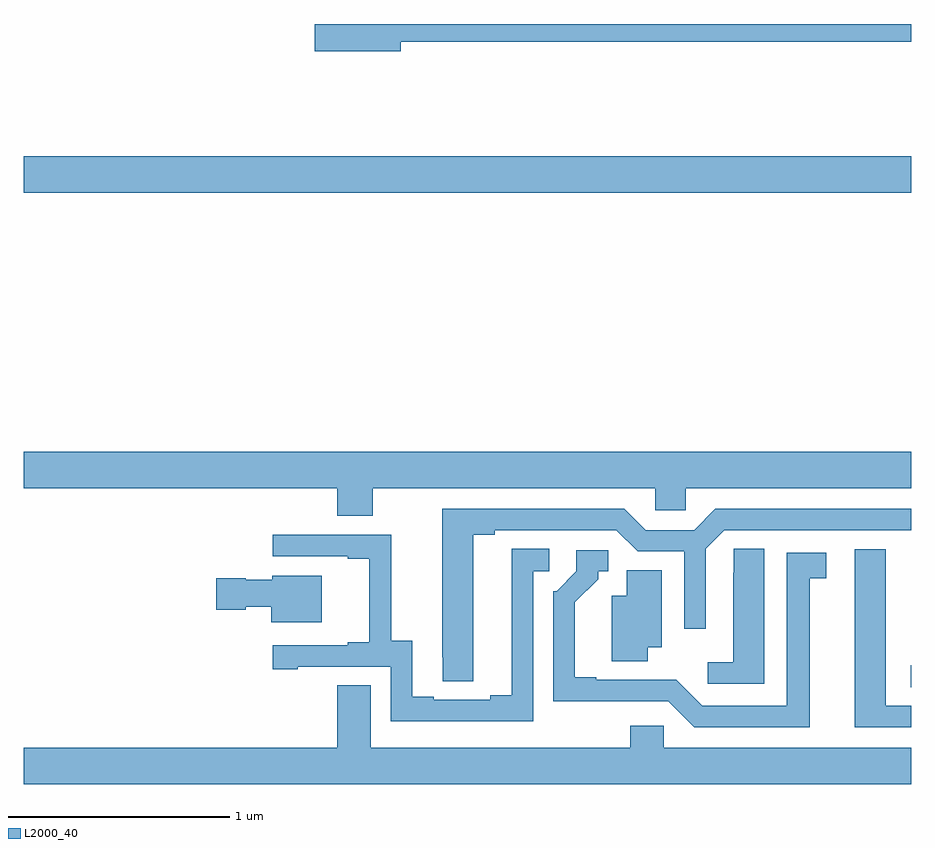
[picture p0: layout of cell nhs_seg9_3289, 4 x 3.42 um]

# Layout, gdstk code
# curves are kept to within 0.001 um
import gdstk
lib = gdstk.Library(unit=1e-6, precision=1e-09)
def R(c, l, rs):  # rectangles x0, y0, x1, y1
    for r in rs: c.add(gdstk.rectangle(r[:2], r[2:], *l))
def P(c, l, *ps):  # polygons
    for p in ps: c.add(gdstk.Polygon(p, *l))
L2000_40 = (2000, 40)

nhs_seg9_3289 = lib.new_cell('nhs_seg9_3289')
R(nhs_seg9_3289, L2000_40, [(302.996,1207.513,303,1207.611), (299,1209.74,303,1209.904)])
P(nhs_seg9_3289, L2000_40, [(300.7,1210.42),(303,1210.42),(303,1210.5),(300.312,1210.5),(300.312,1210.378),(300.7,1210.378)],
  [(300.573,1208.408),(301.845,1208.408),(301.845,1208.31),(301.983,1208.31),(301.983,1208.408),(303,1208.408),(303,1208.572),(299,1208.572),(299,1208.408),(300.413,1208.408),(300.413,1208.284),(300.573,1208.284)],
  [(301.027,1208.2),(301.123,1208.2),(301.123,1208.22),(301.671,1208.22),(301.767,1208.124),(301.977,1208.124),(301.977,1207.776),(302.073,1207.776),(302.073,1208.136),(302.157,1208.22),(303,1208.22),(303,1208.316),(302.117,1208.316),(302.021,1208.22),(301.803,1208.22),(301.707,1208.316),(300.887,1208.316),(300.888,1207.54),(301.027,1207.54)],
  [(301.296,1208.034),(301.369,1208.034),(301.369,1208.135),(301.199,1208.135),(301.199,1207.475),(301.103,1207.475),(301.103,1207.455),(300.847,1207.455),(300.847,1207.47),(300.751,1207.47),(300.751,1207.721),(300.657,1207.721),(300.657,1208.199),(300.123,1208.199),(300.123,1208.103),(300.461,1208.103),(300.461,1208.091),(300.557,1208.091),(300.557,1207.714),(300.461,1207.714),(300.461,1207.701),(300.123,1207.701),(300.123,1207.593),(300.235,1207.593),(300.235,1207.605),(300.654,1207.605),(300.654,1207.359),(301.296,1207.359)],
  [(302.338,1208.135),(302.199,1208.135),(302.199,1208.027),(302.198,1208.027),(302.198,1207.624),(302.082,1207.624),(302.082,1207.527),(302.338,1207.527)],
  [(303,1207.428),(302.884,1207.428),(302.884,1208.134),(302.744,1208.134),(302.744,1207.332),(303,1207.332)],
  [(302.542,1208.002),(302.617,1208.002),(302.617,1208.118),(302.438,1208.118),(302.438,1207.428),(302.058,1207.428),(301.94,1207.546),(301.579,1207.545),(301.579,1207.558),(301.483,1207.558),(301.483,1207.894),(301.588,1207.999),(301.588,1208.034),(301.633,1208.034),(301.633,1208.13),(301.491,1208.13),(301.491,1208.034),(301.401,1207.944),(301.386,1207.944),(301.386,1207.448),(301.905,1207.449),(302.022,1207.332),(302.542,1207.332)],
  [(301.813,1207.691),(301.876,1207.691),(301.876,1208.039),(301.718,1208.039),(301.718,1207.924),(301.649,1207.924),(301.649,1207.63),(301.813,1207.63)],
  [(300.343,1208.014),(300.12,1208.014),(300.12,1207.996),(300,1207.996),(300,1208.004),(299.868,1208.004),(299.868,1207.862),(300,1207.862),(300,1207.874),(300.116,1207.874),(300.116,1207.805),(300.343,1207.805)],
  [(303,1207.24),(301.884,1207.24),(301.884,1207.338),(301.733,1207.338),(301.733,1207.24),(300.565,1207.24),(300.565,1207.52),(300.413,1207.52),(300.413,1207.24),(299,1207.24),(299,1207.076),(303,1207.076)])

lib.write_gds('nhs_seg9_3289.gds')
